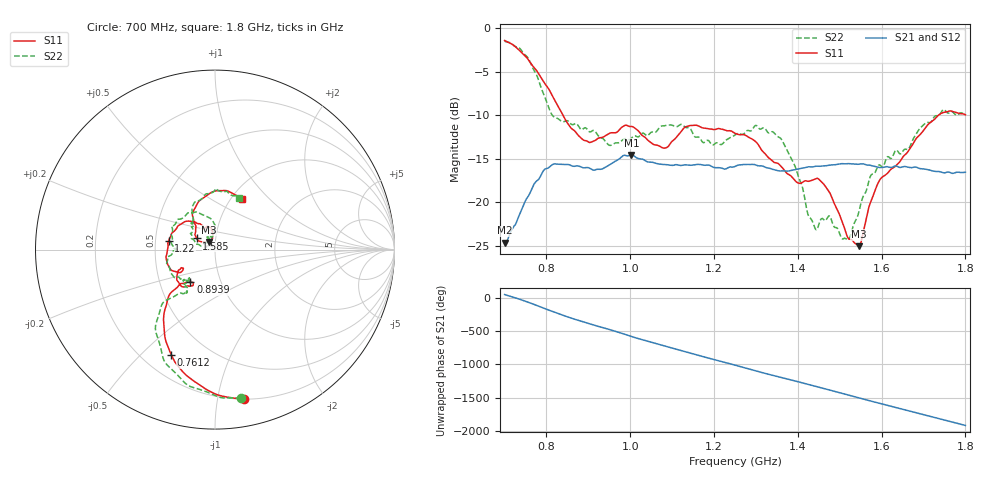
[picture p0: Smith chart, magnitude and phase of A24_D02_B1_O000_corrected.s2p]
! Created with skrf 1.9.0 (http://scikit-rf.org).
# Hz S RI R 50.0
!freq ReS11 ImS11 ReS21 ImS21 ReS12 ImS12 ReS22 ImS22
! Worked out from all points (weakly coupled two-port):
!   1601 points, 700 MHz to 1.8 GHz, reference 50 ohm
!   highest |S21| = -14.57 dB at 1.002 GHz (marker M1); lowest = -24.6 dB at 700 MHz (marker M2)
!   lowest |S11| = -25.0 dB at 1.546 GHz (marker M3), VSWR 1.12, Z = 46.4 + j3.99 ohm
!   |S11| at or under -10 dB: 839.2 MHz to 1.736 GHz (896.3 MHz wide, 69.6 % of centre)
!   |S22| runs from -24.3 to -1.5 dB; largest |S21 - S12| = 0.0035
!   S11 on the Smith chart (normalised r, x): 700 MHz: 0.20, -1.19; 761.2 MHz: 0.32, -0.62; 893.9 MHz: 0.72, -0.27; 1.22 GHz: 0.59, +0.06; 1.585 GHz: 0.81, +0.10; 1.8 GHz: 1.12, +0.70
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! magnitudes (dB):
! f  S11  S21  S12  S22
! 700 MHz  -1.4  -24.6  -24.4  -1.5
! 761.2 MHz  -4.0  -18.9  -18.8  -3.9
! 814.1 MHz  -7.8  -15.7  -15.7  -10.0
! 883.6 MHz  -12.7  -16.0  -15.9  -11.7
! 893.9 MHz  -12.9  -16.0  -16.1  -11.5
! 950.9 MHz  -12.1  -15.7  -15.7  -13.5
! 1.002 GHz  -11.3  -14.6  -14.7  -12.7
! 1.067 GHz  -13.5  -15.6  -15.5  -11.6
! 1.139 GHz  -11.2  -15.7  -15.7  -11.4
! 1.22 GHz  -11.6  -16.1  -16.1  -13.3
! 1.25 GHz  -12.1  -15.9  -15.8  -12.3
! 1.3 GHz  -13.1  -15.7  -15.7  -11.2
! 1.359 GHz  -15.8  -16.4  -16.4  -12.7
! 1.394 GHz  -17.5  -16.2  -16.2  -15.9
! 1.434 GHz  -17.5  -15.9  -15.9  -22.1
! 1.472 GHz  -18.6  -15.8  -15.8  -21.7
! 1.518 GHz  -23.9  -15.6  -15.6  -24.3
! 1.546 GHz  -25.0  -15.6  -15.6  -21.1
! 1.585 GHz  -18.5  -15.9  -15.9  -16.5
! 1.617 GHz  -16.5  -16.0  -15.9  -14.8
! 1.737 GHz  -9.9  -16.5  -16.5  -10.0
! 1.8 GHz  -9.9  -16.5  -16.5  -9.9
